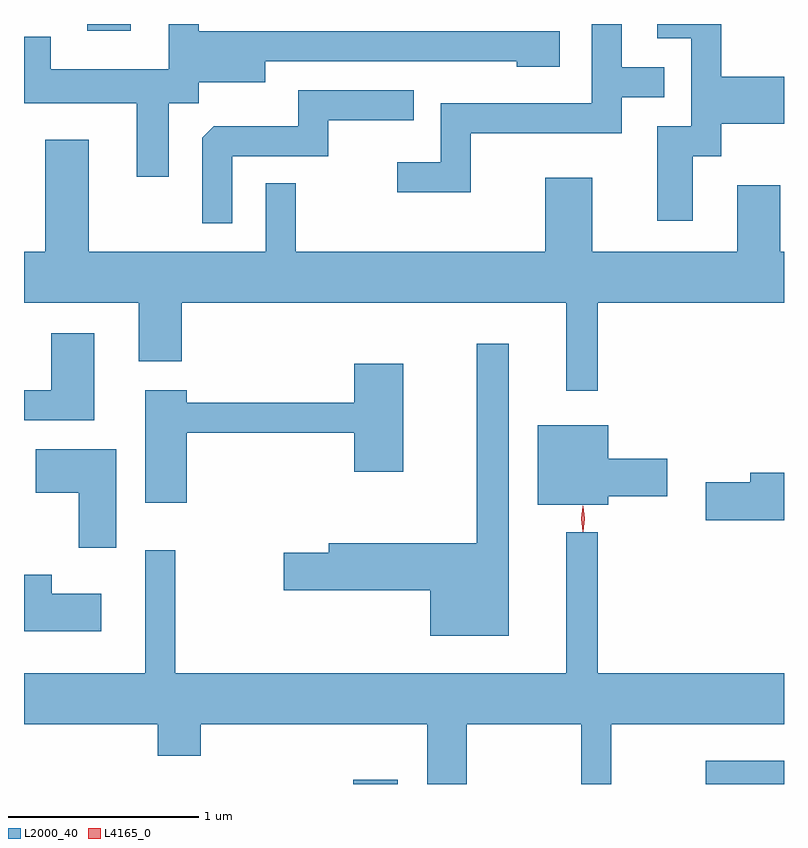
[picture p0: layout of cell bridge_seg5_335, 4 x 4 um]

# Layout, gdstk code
import gdstk
lib = gdstk.Library(unit=1e-6, precision=1e-09)
def R(c, l, rs):  # rectangles x0, y0, x1, y1
    for r in rs: c.add(gdstk.rectangle(r[:2], r[2:], *l))
def P(c, l, *ps):  # polygons
    for p in ps: c.add(gdstk.Polygon(p, *l))
L2000_40 = (2000, 40)
L4165_0 = (4165, 0)

bridge_seg5_335 = lib.new_cell('bridge_seg5_335')
R(bridge_seg5_335, L2000_40, [(683.681,1416.522,683.914,1416.544), (685.536,1416.522,685.948,1416.644), (682.281,1420.486,682.509,1420.522)])
P(bridge_seg5_335, L2000_40, [(685.469,1419.826),(685.619,1419.826),(685.619,1419.996),(685.948,1419.996),(685.948,1420.244),(685.619,1420.244),(685.619,1420.522),(685.281,1420.522),(685.281,1420.446),(685.461,1420.446),(685.461,1419.984),(685.281,1419.984),(685.281,1419.486),(685.469,1419.486)],
  [(684.299,1419.946),(685.094,1419.946),(685.094,1420.136),(685.318,1420.136),(685.318,1420.294),(685.094,1420.294),(685.094,1420.522),(684.936,1420.522),(684.936,1420.104),(684.141,1420.104),(684.141,1419.794),(683.913,1419.794),(683.913,1419.636),(684.299,1419.636)],
  [(682.709,1420.106),(682.869,1420.106),(682.869,1420.216),(683.219,1420.216),(683.219,1420.326),(684.541,1420.326),(684.541,1420.296),(684.769,1420.296),(684.769,1420.484),(682.869,1420.484),(682.869,1420.522),(682.711,1420.522),(682.711,1420.284),(682.089,1420.284),(682.089,1420.454),(681.948,1420.454),(681.948,1420.106),(682.541,1420.106),(682.541,1419.718),(682.709,1419.718)],
  [(683.044,1419.826),(683.549,1419.826),(683.549,1420.016),(683.998,1420.016),(683.998,1420.174),(683.391,1420.174),(683.391,1419.984),(682.947,1419.984),(682.886,1419.924),(682.886,1419.473),(683.044,1419.473)],
  [(684.969,1419.056),(685.948,1419.056),(685.948,1419.324),(685.929,1419.324),(685.929,1419.674),(685.701,1419.674),(685.701,1419.324),(684.939,1419.324),(684.939,1419.714),(684.691,1419.714),(684.691,1419.324),(683.379,1419.324),(683.379,1419.683),(683.221,1419.683),(683.221,1419.324),(682.289,1419.324),(682.289,1419.914),(682.061,1419.914),(682.061,1419.324),(681.948,1419.324),(681.948,1419.056),(682.551,1419.056),(682.551,1418.746),(682.779,1418.746),(682.779,1419.056),(684.801,1419.056),(684.801,1418.593),(684.969,1418.593)],
  [(682.319,1418.894),(682.091,1418.894),(682.091,1418.594),(681.948,1418.594),(681.948,1418.436),(682.319,1418.436)],
  [(684.499,1418.838),(684.331,1418.838),(684.331,1417.789),(683.551,1417.789),(683.551,1417.739),(683.316,1417.739),(683.316,1417.541),(684.086,1417.541),(684.086,1417.301),(684.499,1417.301)],
  [(682.804,1418.371),(683.686,1418.371),(683.686,1418.166),(683.944,1418.166),(683.944,1418.734),(683.686,1418.734),(683.686,1418.529),(682.804,1418.529),(682.804,1418.594),(682.586,1418.594),(682.586,1418.001),(682.804,1418.001)],
  [(685.024,1418.036),(685.334,1418.036),(685.334,1418.234),(685.024,1418.234),(685.024,1418.409),(684.651,1418.409),(684.651,1417.991),(685.024,1417.991)],
  [(682.434,1418.284),(682.011,1418.284),(682.011,1418.056),(682.236,1418.056),(682.236,1417.766),(682.434,1417.766)],
  [(685.948,1418.159),(685.771,1418.159),(685.771,1418.109),(685.536,1418.109),(685.536,1417.911),(685.948,1417.911)],
  [(684.881,1416.522),(685.039,1416.522),(685.039,1416.836),(685.948,1416.836),(685.948,1417.104),(684.969,1417.104),(684.969,1417.848),(684.801,1417.848),(684.801,1417.104),(682.744,1417.104),(682.744,1417.753),(682.586,1417.753),(682.586,1417.104),(681.948,1417.104),(681.948,1416.836),(682.651,1416.836),(682.651,1416.671),(682.879,1416.671),(682.879,1416.836),(684.071,1416.836),(684.071,1416.522),(684.279,1416.522),(684.279,1416.836),(684.881,1416.836)],
  [(682.354,1417.524),(682.094,1417.524),(682.094,1417.624),(681.948,1417.624),(681.948,1417.326),(682.354,1417.326)])
P(bridge_seg5_335, L4165_0, [(684.89,1417.85),(684.89,1417.85),(684.88,1417.918),(684.89,1417.985),(684.89,1417.986),(684.891,1417.985),(684.9,1417.918),(684.891,1417.85)])

lib.write_gds('bridge_seg5_335.gds')
